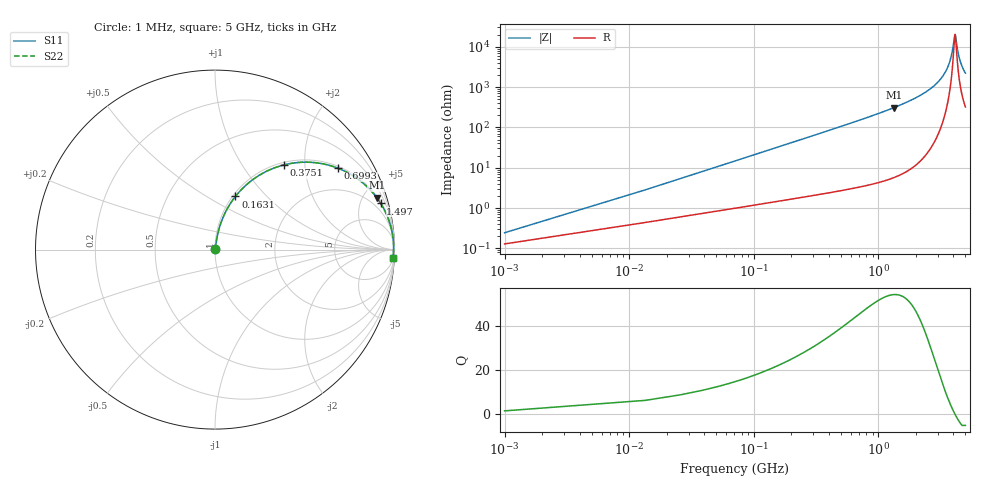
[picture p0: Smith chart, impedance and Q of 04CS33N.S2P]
! Coilcraft 0402CS-33N Chip Inductor
! 22 July 2002
# MHZ S MA R 50
!Freq  MagS11  AngS11  MagS21  AngS21  MagS12  AngS12  MagS22  AngS22
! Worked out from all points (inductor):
!   402 points, 1 MHz to 5 GHz, reference 50 ohm
!   read as one part in series: L = 33 nH near 25.94 MHz
!   highest Q = 54.3 at 1.335 GHz (marker M1), where L = 36.8 nH
!   self-resonance near 4.129 GHz
!   S11 on the Smith chart (normalised r, x): 1 MHz: 1.00, +0.00; 163.1 MHz: 1.03, +0.68; 375.1 MHz: 1.05, +1.57; 699.3 MHz: 1.07, +2.99; 1.497 GHz: 1.13, +7.15; 5 GHz: 7, -44
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1  0.002439 58.0  0.9987 -0.1  0.9987 -0.1  0.002439 58.0
38.41  0.07916 80.2  0.9896 -4.5  0.9896 -4.5  0.07916 80.2
50.88  0.1044 79.5  0.9863 -6.0  0.9863 -6.0  0.1044 79.5
100.76  0.2027 75.1  0.9679 -11.7  0.9679 -11.7  0.2027 75.1
163.11  0.3169 69.0  0.9346 -18.5  0.9346 -18.5  0.3169 69.0
250.4  0.4557 60.9  0.874 -27.1  0.874 -27.1  0.4557 60.9
375.1  0.6087 50.8  0.7758 -37.5  0.7758 -37.5  0.6087 50.8
699.32  0.8225 33.4  0.5509 -55.3  0.5509 -55.3  0.8225 33.4
836.49  0.8677 28.7  0.4797 -60.2  0.4797 -60.2  0.8677 28.7
1335.29  0.9464 17.8  0.3061 -71.1  0.3061 -71.1  0.9464 17.8
1497.4  0.9584 15.5  0.2681 -73.4  0.2681 -73.4  0.9584 15.5
1671.98  0.9679 13.5  0.2334 -75.4  0.2334 -75.4  0.9679 13.5
2507.47  0.9892 6.9  0.1202 -81.4  0.1202 -81.4  0.9892 6.9
3342.96  0.9948 2.8  0.04971 -82.6  0.04971 -82.6  0.9948 2.8
3742  0.9953 1.3  0.02348 -77.9  0.02348 -77.9  0.9953 1.3
3916.58  0.9953 0.7  0.01328 -68.9  0.01328 -68.9  0.9953 0.7
4103.63  0.9951 0.1  0.005161 -18.1  0.005161 -18.1  0.9951 0.1
4178.45  0.995 -0.1  0.00564 27.0  0.00564 27.0  0.995 -0.1
4328.09  0.9947 -0.6  0.01196 63.3  0.01196 63.3  0.9947 -0.6
4490.2  0.9943 -1.1  0.02005 72.9  0.02005 72.9  0.9943 -1.1
4714.66  0.9936 -1.8  0.03119 77.3  0.03119 77.3  0.9936 -1.8
5000  0.9925 -2.5  0.04482 79.1  0.04482 79.1  0.9925 -2.5
